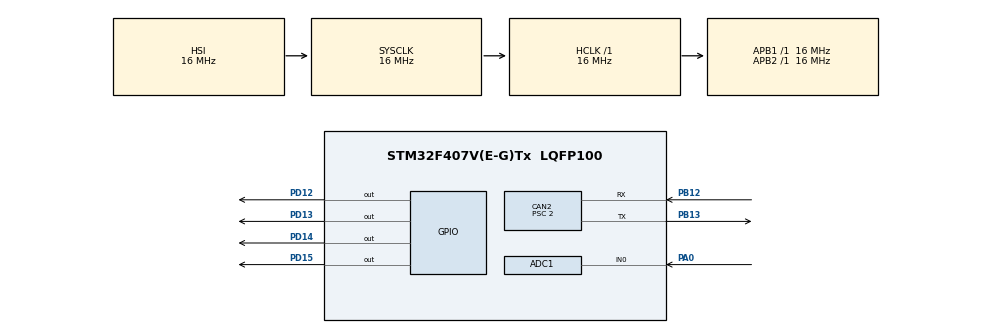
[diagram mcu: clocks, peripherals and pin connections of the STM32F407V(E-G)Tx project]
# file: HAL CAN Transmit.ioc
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ADC1.Channel-2\#ChannelRegularConversion=ADC_CHANNEL_0
ADC1.NbrOfConversionFlag=1
ADC1.Rank-2\#ChannelRegularConversion=1
ADC1.SamplingTime-2\#ChannelRegularConversion=ADC_SAMPLETIME_3CYCLES
ADC1.master=1
CAN2.BS1=CAN_BS1_13TQ
CAN2.BS2=CAN_BS2_2TQ
CAN2.CalculateBaudRate=500000
CAN2.CalculateTimeBit=2000
CAN2.CalculateTimeQuantum=125.0
CAN2.Prescaler=2
Mcu.Family=STM32F4
Mcu.Name=STM32F407V(E-G)Tx
Mcu.Package=LQFP100
NVIC.PriorityGroup=NVIC_PRIORITYGROUP_4
PA0-WKUP.Signal=ADCx_IN0
PB12.Mode=CAN_Activate
PB12.Signal=CAN2_RX
PB13.Mode=CAN_Activate
PB13.Signal=CAN2_TX
PD12.Signal=GPIO_Output
PD13.Signal=GPIO_Output
PD14.Signal=GPIO_Output
PD15.Signal=GPIO_Output
ProjectManager.HeapSize=0x200
ProjectManager.StackSize=0x400
ProjectManager.TargetToolchain=STM32CubeIDE
RCC.AHBFreq_Value=16000000
RCC.APB1Freq_Value=16000000
RCC.APB2Freq_Value=16000000
RCC.CortexFreq_Value=16000000
RCC.HSE_VALUE=25000000
RCC.HSI_VALUE=16000000
RCC.LSE_VALUE=32768
RCC.SYSCLKFreq_VALUE=16000000
RCC.VCOOutputFreq_Value=192000000
SH.ADCx_IN0.0=ADC1_IN0,IN0
board=custom

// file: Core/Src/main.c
/* USER CODE BEGIN Header */
/**
  ******************************************************************************
  * @file           : main.c
  * @brief          : Main program body
  ******************************************************************************
  * @attention
  *
  * Copyright (c) 2023 STMicroelectronics.
  * All rights reserved.
  *
  * This software is licensed under terms that can be found in the LICENSE file
  * in the root directory of this software component.
  * If no LICENSE file comes with this software, it is provided AS-IS.
  *
  ******************************************************************************
  */
/* USER CODE END Header */
#include "main.h"

ADC_HandleTypeDef hadc1;

CAN_HandleTypeDef hcan2;

/* USER CODE BEGIN PV */
CAN_TxHeaderTypeDef   TxHeader;
uint8_t               TxData[8];
uint32_t              TxMailbox;

/* USER CODE END PV */

void SystemClock_Config(void);
static void MX_GPIO_Init(void);
static void MX_CAN2_Init(void);
static void MX_ADC1_Init(void);

int main(void)
{
  /* USER CODE BEGIN 1 */
	__HAL_RCC_CAN2_CLK_ENABLE();
  /* USER CODE END 1 */

  /* MCU Configuration--------------------------------------------------------*/

  /* Reset of all peripherals, Initializes the Flash interface and the Systick. */
  HAL_Init();

  /* Configure the system clock */
  SystemClock_Config();

  /* Initialize all configured peripherals */
  MX_GPIO_Init();
  MX_CAN2_Init();
  MX_ADC1_Init();
  /* USER CODE BEGIN 2 */
  uint32_t ADC_Value;
  uint32_t ADC_percentage;
  uint32_t max_motor_speed = 3277;
  uint32_t desired_motor_speed;
  /* USER CODE END 2 */

  /* Infinite loop */
  /* USER CODE BEGIN WHILE */
  while (1)
  {
	  HAL_ADC_Start(&hadc1); // start A/D conversion
	  if(HAL_ADC_PollForConversion(&hadc1, 5) == HAL_OK) //check if conversion is completed
	  {
		  // taking ADC data and turning it into a CAN message to spin the motor at a certain speed
		  ADC_Value  = HAL_ADC_GetValue(&hadc1); // read digital value and save it inside uint32_t variable
		  ADC_percentage = (ADC_Value*100)/(0xFFF);
		  desired_motor_speed = (ADC_percentage*max_motor_speed)/100;

		  TxData[0] = 0x31; // register address
		  TxData[1] = desired_motor_speed & 0b0000000011111111; // last 8 bits of data
		  TxData[2] = (desired_motor_speed & 0b1111111100000000) >> 8; // first 8 bits of data

		  // test code to check data transmission
		  /*
		  TxData[0] = 0x31; // register address
		  TxData[1] = 0xCD; // last 8 bits of data
		  TxData[2] = 0x0C; // first 8 bits of data
		  HAL_Delay(1000);
		  TxData[0] = 0x31; // register address
		  TxData[1] = 0x00; // last 8 bits of data
		  TxData[2] = 0x00; // first 8 bits of data
		  HAL_Delay(1000);
		  */

		  // CAN message: 201 31 Tx[0] Tx[1] Tx[2]
		  HAL_GPIO_TogglePin(GPIOD, GPIO_PIN_15);
	  }
		HAL_ADC_Stop(&hadc1); // stop conversion
		HAL_Delay(200);

	  /* Start the Transmission process */
	  if (HAL_CAN_AddTxMessage(&hcan2, &TxHeader, TxData, &TxMailbox) != HAL_OK)
	  {
		/* Transmission request Error */
		  HAL_GPIO_TogglePin(GPIOD, GPIO_PIN_14|GPIO_PIN_15);
		//Error_Handler();
	  }
	  HAL_GPIO_TogglePin(GPIOD, GPIO_PIN_12|GPIO_PIN_13);
	  HAL_Delay(69);
    /* USER CODE END WHILE */

  }
}

void SystemClock_Config(void)
{
  RCC_OscInitTypeDef RCC_OscInitStruct = {0};
  RCC_ClkInitTypeDef RCC_ClkInitStruct = {0};

  /** Configure the main internal regulator output voltage
  */
  __HAL_RCC_PWR_CLK_ENABLE();
  __HAL_PWR_VOLTAGESCALING_CONFIG(PWR_REGULATOR_VOLTAGE_SCALE1);

  /** Initializes the RCC Oscillators according to the specified parameters
  * in the RCC_OscInitTypeDef structure.
  */
  RCC_OscInitStruct.OscillatorType = RCC_OSCILLATORTYPE_HSI;
  RCC_OscInitStruct.HSIState = RCC_HSI_ON;
  RCC_OscInitStruct.HSICalibrationValue = RCC_HSICALIBRATION_DEFAULT;
  RCC_OscInitStruct.PLL.PLLState = RCC_PLL_NONE;
  if (HAL_RCC_OscConfig(&RCC_OscInitStruct) != HAL_OK)
  {
    Error_Handler();
  }

  /** Initializes the CPU, AHB and APB buses clocks
  */
  RCC_ClkInitStruct.ClockType = RCC_CLOCKTYPE_HCLK|RCC_CLOCKTYPE_SYSCLK
                              |RCC_CLOCKTYPE_PCLK1|RCC_CLOCKTYPE_PCLK2;
  RCC_ClkInitStruct.SYSCLKSource = RCC_SYSCLKSOURCE_HSI;
  RCC_ClkInitStruct.AHBCLKDivider = RCC_SYSCLK_DIV1;
  RCC_ClkInitStruct.APB1CLKDivider = RCC_HCLK_DIV1;
  RCC_ClkInitStruct.APB2CLKDivider = RCC_HCLK_DIV1;

  if (HAL_RCC_ClockConfig(&RCC_ClkInitStruct, FLASH_LATENCY_0) != HAL_OK)
  {
    Error_Handler();
  }
}

static void MX_ADC1_Init(void)
{

  ADC_ChannelConfTypeDef sConfig = {0};

  /** Configure the global features of the ADC (Clock, Resolution, Data Alignment and number of conversion)
  */
  hadc1.Instance = ADC1;
  hadc1.Init.ClockPrescaler = ADC_CLOCK_SYNC_PCLK_DIV2;
  hadc1.Init.Resolution = ADC_RESOLUTION_12B;
  hadc1.Init.ScanConvMode = DISABLE;
  hadc1.Init.ContinuousConvMode = DISABLE;
  hadc1.Init.DiscontinuousConvMode = DISABLE;
  hadc1.Init.ExternalTrigConvEdge = ADC_EXTERNALTRIGCONVEDGE_NONE;
  hadc1.Init.ExternalTrigConv = ADC_SOFTWARE_START;
  hadc1.Init.DataAlign = ADC_DATAALIGN_RIGHT;
  hadc1.Init.NbrOfConversion = 1;
  hadc1.Init.DMAContinuousRequests = DISABLE;
  hadc1.Init.EOCSelection = ADC_EOC_SINGLE_CONV;
  if (HAL_ADC_Init(&hadc1) != HAL_OK)
  {
    Error_Handler();
  }

  /** Configure for the selected ADC regular channel its corresponding rank in the sequencer and its sample time.
  */
  sConfig.Channel = ADC_CHANNEL_0;
  sConfig.Rank = 1;
  sConfig.SamplingTime = ADC_SAMPLETIME_3CYCLES;
  if (HAL_ADC_ConfigChannel(&hadc1, &sConfig) != HAL_OK)
  {
    Error_Handler();
  }

}

static void MX_CAN2_Init(void)
{

  /* USER CODE BEGIN CAN2_Init 0 */
	CAN_FilterTypeDef  sFilterConfig;
  /* USER CODE END CAN2_Init 0 */

  /* USER CODE BEGIN CAN2_Init 1 */
	// Configure the GPIO pins for CAN1
	GPIO_InitTypeDef GPIO_InitStruct = {0};
	GPIO_InitStruct.Pin = GPIO_PIN_13 | GPIO_PIN_12;
	GPIO_InitStruct.Mode = GPIO_MODE_AF_PP;
	GPIO_InitStruct.Pull = GPIO_NOPULL;
	GPIO_InitStruct.Speed = GPIO_SPEED_FREQ_VERY_HIGH;
	GPIO_InitStruct.Alternate = GPIO_AF9_CAN1;
	HAL_GPIO_Init(GPIOB, &GPIO_InitStruct);
  /* USER CODE END CAN2_Init 1 */
  hcan2.Instance = CAN2;
  hcan2.Init.Prescaler = 2;
  hcan2.Init.Mode = CAN_MODE_NORMAL;
  hcan2.Init.SyncJumpWidth = CAN_SJW_1TQ;
  hcan2.Init.TimeSeg1 = CAN_BS1_13TQ;
  hcan2.Init.TimeSeg2 = CAN_BS2_2TQ;
  hcan2.Init.TimeTriggeredMode = DISABLE;
  hcan2.Init.AutoBusOff = DISABLE;
  hcan2.Init.AutoWakeUp = DISABLE;
  hcan2.Init.AutoRetransmission = DISABLE;
  hcan2.Init.ReceiveFifoLocked = DISABLE;
  hcan2.Init.TransmitFifoPriority = DISABLE;
  if (HAL_CAN_Init(&hcan2) != HAL_OK)
  {
    Error_Handler();
  }
  /* USER CODE BEGIN CAN2_Init 2 */
  HAL_Delay(100);
  /*##-2- Configure the CAN Filter ###########################################*/
  sFilterConfig.FilterBank = 0;
  sFilterConfig.FilterMode = CAN_FILTERMODE_IDMASK;
  sFilterConfig.FilterScale = CAN_FILTERSCALE_32BIT;
  sFilterConfig.FilterIdHigh = 0x0000;
  sFilterConfig.FilterIdLow = 0x0000;
  sFilterConfig.FilterMaskIdHigh = 0x0000;
  sFilterConfig.FilterMaskIdLow = 0x0000;
  sFilterConfig.FilterFIFOAssignment = CAN_RX_FIFO0;
  sFilterConfig.FilterActivation = ENABLE;
  sFilterConfig.SlaveStartFilterBank = 14;

  if (HAL_CAN_ConfigFilter(&hcan2, &sFilterConfig) != HAL_OK)
  {
    /* Filter configuration Error */
    Error_Handler();
  }
  /*##-3- Start the CAN peripheral ###########################################*/
   if (HAL_CAN_Start(&hcan2) != HAL_OK)
   {
     /* Start Error */
	   HAL_GPIO_TogglePin(GPIOD, GPIO_PIN_14);
     //Error_Handler();
   }
  //Configure transmission process
  TxHeader.StdId = 0x201;
  TxHeader.ExtId = 0x01;
  TxHeader.RTR = CAN_RTR_DATA;
  TxHeader.IDE = CAN_ID_STD;
  TxHeader.DLC = 3;
  TxHeader.TransmitGlobalTime = DISABLE;
  /* USER CODE END CAN2_Init 2 */

}

static void MX_GPIO_Init(void)
{
  GPIO_InitTypeDef GPIO_InitStruct = {0};

  /* GPIO Ports Clock Enable */
  __HAL_RCC_GPIOA_CLK_ENABLE();
  __HAL_RCC_GPIOB_CLK_ENABLE();
  __HAL_RCC_GPIOD_CLK_ENABLE();

  /*Configure GPIO pin Output Level */
  HAL_GPIO_WritePin(GPIOD, GPIO_PIN_12|GPIO_PIN_13|GPIO_PIN_14|GPIO_PIN_15, GPIO_PIN_RESET);

  /*Configure GPIO pins : PD12 PD13 PD14 PD15 */
  GPIO_InitStruct.Pin = GPIO_PIN_12|GPIO_PIN_13|GPIO_PIN_14|GPIO_PIN_15;
  GPIO_InitStruct.Mode = GPIO_MODE_OUTPUT_PP;
  GPIO_InitStruct.Pull = GPIO_NOPULL;
  GPIO_InitStruct.Speed = GPIO_SPEED_FREQ_LOW;
  HAL_GPIO_Init(GPIOD, &GPIO_InitStruct);

}

/* USER CODE BEGIN 4 */
/* Configure and initialize PA0 pin as analog input pin for A/D conversion */

/* USER CODE END 4 */

void Error_Handler(void)
{
  __disable_irq();
  while (1)
  {
  }
}
